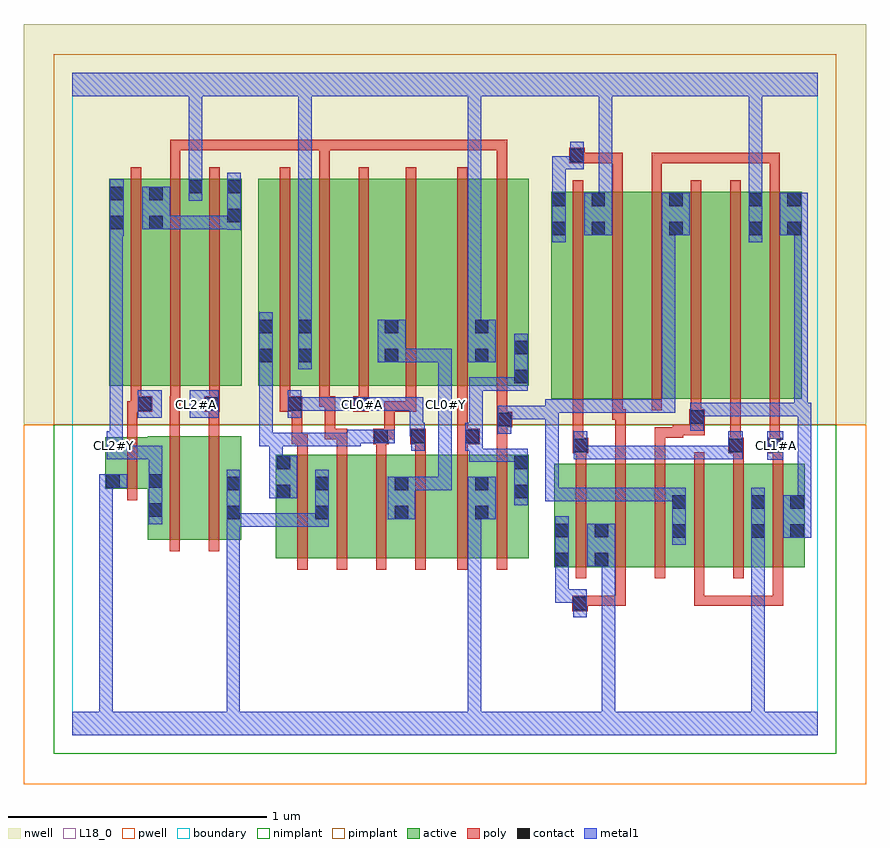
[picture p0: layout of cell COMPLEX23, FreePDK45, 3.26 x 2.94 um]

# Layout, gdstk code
import gdstk
lib = gdstk.Library(unit=1e-6, precision=1e-09)
def R(c, l, rs):  # rectangles x0, y0, x1, y1
    for r in rs: c.add(gdstk.rectangle(r[:2], r[2:], *l))
def A(c, l, x, y, w, h, nx, ny, dx, dy):  # array of equal rectangles
    R(c, l, [(x+i*dx, y+j*dy, x+i*dx+w, y+j*dy+h) for i in range(nx) for j in range(ny)])
active = (1, 0)
pwell = (2, 0)
nwell = (3, 0)
nimplant = (4, 0)
pimplant = (5, 0)
poly = (9, 0)
contact = (10, 0)
metal1 = (11, 0)
L18_0 = (18, 0)
boundary = (235, 0)

complex23 = lib.new_cell('COMPLEX23')
R(complex23, active, [(1.862,0.65,1.922,1.05), (1.862,0.65,2.074,1.05), (2.014,0.65,2.194,1.05), (2.014,0.65,2.074,0.822), (2.194,0.65,2.374,1.05), (2.314,0.65,2.374,1.05), (2.314,0.65,2.498,1.05), (2.498,0.65,2.68,1.05), (2.62,0.65,2.83,1.05), (2.62,0.65,2.68,0.976), (2.77,0.65,2.83,1.05), (0.786,0.684,0.846,1.084), (0.786,0.684,0.994,1.084), (0.934,0.684,0.994,1.084), (0.934,0.684,1.118,1.084), (1.118,0.684,1.302,1.084), (1.242,0.684,1.302,1.084), (1.242,0.684,1.422,1.084), (1.422,0.684,1.612,1.084), (1.552,0.684,1.612,1.084), (1.552,0.684,1.764,1.084), (0.292,0.756,0.472,1.156), (0.292,0.756,0.352,1.152), (0.472,0.756,0.652,1.156), (0.592,0.756,0.652,1.156), (1.704,0.756,1.764,1.084), (0.128,0.952,0.352,1.152), (0.128,0.952,0.188,1.152), (1.85,1.3,1.91,2.1), (1.85,1.3,2.062,2.1), (2.002,1.3,2.182,2.1), (2.182,1.3,2.362,2.1), (2.302,1.3,2.362,2.1), (2.302,1.3,2.486,2.1), (2.486,1.3,2.67,2.1), (2.61,1.3,2.818,2.1), (2.758,1.3,2.818,2.1), (0.142,1.35,0.202,2.15), (0.142,1.35,0.354,2.15), (0.294,1.35,0.354,2.15), (0.294,1.35,0.506,2.15), (0.446,1.35,0.654,2.15), (0.594,1.35,0.654,2.15), (0.718,1.35,0.93,2.15), (0.718,1.35,0.778,2.044), (0.87,1.35,1.05,2.15), (0.87,1.35,0.93,2.044), (1.05,1.35,1.264,2.15), (1.204,1.35,1.264,2.044), (1.204,1.35,1.408,2.15), (1.408,1.35,1.612,2.15), (1.552,1.35,1.764,2.15), (1.552,1.35,1.612,2.044), (1.704,1.35,1.764,2.044), (2.61,1.366,2.67,2.1), (0.446,1.498,0.506,2.15), (2.002,1.65,2.062,2.1)])
R(complex23, pwell, [(-0.188,-0.188,3.068,1.2)])
R(complex23, nwell, [(-0.188,1.2,3.068,2.748)])
R(complex23, nimplant, [(-0.072,-0.072,2.952,1.2)])
R(complex23, pimplant, [(-0.072,1.2,2.952,2.632)])
A(complex23, poly, 2.098, 0.5, 0.04, 0.146, 3, 1, 0.304, 0)
A(complex23, poly, 1.946, 0.606, 0.04, 0.488, 6, 1, 0.152, 0)
A(complex23, poly, 0.87, 0.64, 0.04, 0.488, 4, 1, 0.152, 0)
A(complex23, poly, 1.934, 1.256, 0.04, 0.888, 6, 1, 0.152, 0)
A(complex23, poly, 0.226, 1.27, 0.04, 0.076, 3, 1, 0.152, 0)
A(complex23, poly, 0.802, 1.27, 0.04, 0.076, 3, 1, 0.152, 0)
A(complex23, poly, 0.226, 1.306, 0.04, 0.888, 3, 1, 0.152, 0)
A(complex23, poly, 0.802, 1.306, 0.04, 0.888, 3, 1, 0.152, 0)
R(complex23, poly, [(1.932,0.48,1.992,0.54), (1.952,0.5,1.992,0.54), (1.952,0.5,1.992,0.54), (1.952,0.5,2.138,0.54), (2.098,0.5,2.138,0.54), (2.402,0.5,2.442,0.54), (2.402,0.5,2.548,0.54), (2.508,0.5,2.548,0.54), (2.508,0.5,2.548,0.54), (2.508,0.5,2.548,0.54), (2.508,0.5,2.746,0.54), (2.706,0.5,2.746,0.54), (2.706,0.5,2.746,0.54), (2.706,0.5,2.746,0.54), (1.488,0.64,1.528,1.128), (1.64,0.64,1.68,1.128), (0.376,0.712,0.416,1.2), (0.528,0.712,0.568,1.2), (0.212,0.908,0.252,1.196), (1.946,1.054,1.986,1.13), (2.098,1.054,2.138,1.26), (2.25,1.054,2.29,1.19), (2.554,1.054,2.594,1.13), (2.706,1.054,2.746,1.13), (0.87,1.088,0.91,1.164), (1.022,1.088,1.062,1.184), (1.174,1.088,1.214,1.164), (1.326,1.088,1.366,1.164), (1.488,1.088,1.528,1.164), (1.64,1.088,1.68,1.23), (1.934,1.09,1.994,1.15), (2.534,1.09,2.594,1.15), (2.686,1.09,2.746,1.15), (1.934,1.11,1.974,1.15), (1.934,1.11,1.974,1.15), (1.934,1.11,1.974,1.296), (2.542,1.11,2.582,1.15), (2.542,1.11,2.582,1.15), (2.542,1.11,2.582,1.296), (2.694,1.11,2.734,1.15), (2.694,1.11,2.734,1.15), (2.694,1.11,2.734,1.296), (0.848,1.124,0.888,1.29), (0.848,1.124,0.91,1.164), (1.162,1.124,1.222,1.184), (1.306,1.124,1.366,1.184), (1.488,1.124,1.528,1.164), (1.488,1.124,1.528,1.164), (1.488,1.124,1.574,1.184), (0.976,1.144,1.016,1.31), (0.976,1.144,1.062,1.184), (1.182,1.144,1.246,1.184), (1.206,1.144,1.246,1.29), (1.206,1.144,1.246,1.184), (1.488,1.144,1.528,1.346), (2.25,1.15,2.29,1.19), (2.25,1.15,2.29,1.19), (2.25,1.15,2.29,1.19), (2.25,1.15,2.36,1.19), (2.32,1.15,2.36,1.2), (0.212,1.156,0.252,1.29), (0.376,1.16,0.416,1.31), (0.528,1.16,0.568,1.29), (2.32,1.16,2.424,1.2), (2.384,1.16,2.444,1.26), (1.64,1.19,1.7,1.25), (1.64,1.21,1.68,1.25), (1.64,1.21,1.68,1.25), (1.64,1.21,1.68,1.346), (2.086,1.22,2.126,1.296), (2.086,1.22,2.138,1.26), (2.098,1.22,2.138,1.26), (2.098,1.22,2.138,1.26), (2.39,1.22,2.43,1.296), (0.212,1.25,0.266,1.29), (0.226,1.25,0.266,1.29), (0.226,1.25,0.31,1.31), (0.51,1.25,0.57,1.31), (0.802,1.25,0.888,1.31), (1.086,1.25,1.146,1.31), (1.206,1.25,1.246,1.29), (1.206,1.25,1.328,1.29), (1.288,1.25,1.328,1.29), (1.288,1.25,1.328,1.346), (0.376,1.27,0.416,1.31), (0.376,1.27,0.416,1.31), (0.376,1.27,0.418,1.31), (0.53,1.27,0.57,1.31), (0.53,1.27,0.57,1.31), (0.954,1.27,1.016,1.31), (1.288,1.306,1.328,2.194), (1.488,1.306,1.528,2.194), (1.64,1.306,1.68,2.194), (2.086,2.104,2.126,2.25), (2.238,2.104,2.278,2.25), (2.694,2.104,2.734,2.25), (0.378,2.154,0.418,2.3), (0.954,2.154,0.994,2.3), (1.64,2.154,1.68,2.3), (1.92,2.21,1.98,2.27), (1.94,2.21,1.98,2.25), (1.94,2.21,1.98,2.25), (1.94,2.21,2.126,2.25), (2.086,2.21,2.126,2.25), (2.238,2.21,2.278,2.25), (2.238,2.21,2.396,2.25), (2.356,2.21,2.396,2.25), (2.356,2.21,2.396,2.25), (2.356,2.21,2.396,2.25), (2.356,2.21,2.62,2.25), (2.58,2.21,2.62,2.25), (2.58,2.21,2.62,2.25), (2.58,2.21,2.62,2.25), (2.58,2.21,2.734,2.25), (2.694,2.21,2.734,2.25), (2.694,2.21,2.734,2.25), (2.694,2.21,2.734,2.25), (0.378,2.26,0.418,2.3), (0.378,2.26,0.418,2.3), (0.378,2.26,0.418,2.3), (0.378,2.26,0.524,2.3), (0.484,2.26,0.524,2.3), (0.484,2.26,0.524,2.3), (0.484,2.26,0.524,2.3), (0.484,2.26,0.63,2.3), (0.59,2.26,0.63,2.3), (0.59,2.26,0.63,2.3), (0.59,2.26,0.63,2.3), (0.59,2.26,0.994,2.3), (0.954,2.26,0.994,2.3), (0.954,2.26,0.994,2.3), (0.954,2.26,0.994,2.3), (0.954,2.26,1.1,2.3), (1.06,2.26,1.1,2.3), (1.06,2.26,1.1,2.3), (1.06,2.26,1.1,2.3), (1.06,2.26,1.328,2.3), (1.288,2.26,1.328,2.3), (1.288,2.26,1.328,2.3), (1.288,2.26,1.328,2.3), (1.288,2.26,1.434,2.3), (1.394,2.26,1.434,2.3), (1.394,2.26,1.434,2.3), (1.394,2.26,1.434,2.3), (1.394,2.26,1.68,2.3), (1.64,2.26,1.68,2.3), (1.64,2.26,1.68,2.3), (1.64,2.26,1.68,2.3)])
R(complex23, contact, [(1.936,0.484,1.988,0.536), (1.866,0.654,1.918,0.706), (2.018,0.654,2.07,0.706), (2.318,0.764,2.37,0.816), (2.624,0.764,2.676,0.816), (2.774,0.764,2.826,0.816), (1.866,0.766,1.918,0.818), (2.018,0.766,2.07,0.818), (0.596,0.834,0.648,0.886), (0.938,0.834,0.99,0.886), (1.246,0.834,1.298,0.886), (1.556,0.834,1.608,0.886), (0.296,0.844,0.348,0.896), (2.318,0.876,2.37,0.928), (2.624,0.876,2.676,0.928), (2.774,0.876,2.826,0.928), (0.79,0.916,0.842,0.968), (1.708,0.916,1.76,0.968), (0.596,0.946,0.648,0.998), (0.938,0.946,0.99,0.998), (1.246,0.946,1.298,0.998), (1.556,0.946,1.608,0.998), (0.132,0.956,0.184,1.008), (0.296,0.956,0.348,1.008), (0.79,1.028,0.842,1.08), (1.708,1.028,1.76,1.08), (1.938,1.094,1.99,1.146), (2.538,1.094,2.59,1.146), (2.69,1.094,2.742,1.146), (1.166,1.128,1.218,1.18), (1.31,1.128,1.362,1.18), (1.518,1.128,1.57,1.18), (1.644,1.194,1.696,1.246), (2.388,1.204,2.44,1.256), (0.254,1.254,0.306,1.306), (0.514,1.254,0.566,1.306), (0.832,1.254,0.884,1.306), (1.09,1.254,1.142,1.306), (1.708,1.36,1.76,1.412), (0.722,1.442,0.774,1.494), (0.874,1.442,0.926,1.494), (1.208,1.442,1.26,1.494), (1.556,1.442,1.608,1.494), (1.708,1.472,1.76,1.524), (0.722,1.554,0.774,1.606), (0.874,1.554,0.926,1.606), (1.208,1.554,1.26,1.606), (1.556,1.554,1.608,1.606), (1.854,1.932,1.906,1.984), (2.006,1.932,2.058,1.984), (2.306,1.932,2.358,1.984), (2.614,1.932,2.666,1.984), (2.762,1.932,2.814,1.984), (0.146,1.956,0.198,2.008), (0.298,1.956,0.35,2.008), (0.598,1.982,0.65,2.034), (1.854,2.044,1.906,2.096), (2.006,2.044,2.058,2.096), (2.306,2.044,2.358,2.096), (2.614,2.044,2.666,2.096), (2.762,2.044,2.814,2.096), (0.146,2.068,0.198,2.12), (0.298,2.068,0.35,2.12), (0.45,2.094,0.502,2.146), (0.598,2.094,0.65,2.146), (1.924,2.214,1.976,2.266)])
A(complex23, metal1, 2.168, 1.066, 0.052, 0.052, 3, 1, 0.11, 0)
R(complex23, metal1, [(0,0,2.88,0.092), (0.104,0.04,0.156,0.092), (0.104,0.04,0.156,0.092), (0.104,0.04,0.156,1.008), (0.596,0.04,0.648,0.092), (0.596,0.04,0.648,0.092), (0.596,0.04,0.648,0.092), (0.596,0.04,0.648,0.092), (0.596,0.04,0.648,0.092), (0.596,0.04,0.648,0.092), (0.596,0.04,0.648,0.092), (0.596,0.04,0.648,0.092), (0.596,0.04,0.648,0.092), (0.596,0.04,0.648,0.092), (0.596,0.04,0.648,0.092), (0.596,0.04,0.648,0.092), (0.596,0.04,0.648,0.858), (1.528,0.04,1.58,0.092), (1.528,0.04,1.58,0.092), (1.528,0.04,1.58,0.092), (1.528,0.04,1.58,0.092), (1.528,0.04,1.58,0.092), (1.528,0.04,1.58,0.092), (1.528,0.04,1.58,0.092), (1.528,0.04,1.58,0.092), (1.528,0.04,1.58,0.092), (1.528,0.04,1.58,0.092), (1.528,0.04,1.58,0.092), (1.528,0.04,1.58,0.092), (1.528,0.04,1.58,0.886), (2.046,0.04,2.098,0.092), (2.046,0.04,2.098,0.092), (2.046,0.04,2.098,0.706), (2.624,0.04,2.676,0.092), (2.624,0.04,2.676,0.092), (2.624,0.04,2.676,0.092), (2.624,0.04,2.676,0.092), (2.624,0.04,2.676,0.092), (2.624,0.04,2.676,0.092), (2.624,0.04,2.676,0.092), (2.624,0.04,2.676,0.092), (2.624,0.04,2.676,0.788), (1.936,0.456,1.988,0.564), (1.866,0.512,1.918,0.564), (1.866,0.512,1.988,0.564), (1.866,0.512,1.918,0.678), (1.866,0.626,1.918,0.846), (1.99,0.654,2.098,0.818), (2.046,0.654,2.098,0.706), (2.046,0.654,2.098,0.706), (2.046,0.654,2.098,0.706), (2.046,0.654,2.098,0.706), (2.046,0.654,2.098,0.706), (2.046,0.654,2.098,0.706), (2.046,0.654,2.098,0.706), (2.046,0.654,2.098,0.706), (2.046,0.654,2.098,0.706), (2.046,0.654,2.098,0.706), (2.318,0.736,2.37,0.956), (2.624,0.736,2.676,0.788), (2.624,0.736,2.676,0.788), (2.624,0.736,2.676,0.788), (2.624,0.736,2.676,0.788), (2.624,0.736,2.676,0.956), (2.746,0.764,2.854,0.928), (0.596,0.806,0.648,0.858), (0.596,0.806,0.648,0.858), (0.596,0.806,0.648,1.026), (0.596,0.806,0.76,0.858), (0.708,0.806,0.76,0.858), (0.708,0.806,0.99,0.858), (0.938,0.806,0.99,1.026), (0.296,0.816,0.348,1.036), (1.218,0.834,1.326,0.998), (1.528,0.834,1.636,0.998), (2.802,0.876,2.854,1.284), (1.708,0.888,1.76,1.108), (1.828,0.904,1.88,0.956), (1.828,0.904,1.88,0.956), (1.828,0.904,1.88,0.956), (1.828,0.904,2.1,0.956), (1.828,0.904,1.88,1.274), (2.048,0.904,2.1,0.956), (2.048,0.904,2.1,0.956), (2.048,0.904,2.1,0.956), (2.048,0.904,2.21,0.956), (2.158,0.904,2.21,0.956), (2.158,0.904,2.21,0.956), (2.158,0.904,2.21,0.956), (2.158,0.904,2.37,0.956), (0.762,0.916,0.87,1.08), (1.274,0.946,1.356,0.998), (1.304,0.946,1.356,0.998), (1.304,0.946,1.466,0.998), (1.414,0.946,1.466,0.998), (1.414,0.946,1.466,1.278), (0.104,0.956,0.156,1.008), (0.104,0.956,0.156,1.008), (0.104,0.956,0.156,1.008), (0.104,0.956,0.156,1.008), (0.104,0.956,0.156,1.008), (0.104,0.956,0.156,1.008), (0.104,0.956,0.156,1.008), (0.104,0.956,0.156,1.008), (0.104,0.956,0.156,1.008), (0.104,0.956,0.156,1.008), (0.104,0.956,0.156,1.008), (0.104,0.956,0.156,1.008), (0.104,0.956,0.156,1.008), (0.104,0.956,0.156,1.008), (0.104,0.956,0.212,1.008), (0.296,0.984,0.348,1.118), (0.762,1.028,0.814,1.168), (1.534,1.056,1.586,1.108), (1.534,1.056,1.76,1.108), (1.534,1.056,1.586,1.152), (1.708,1.056,1.76,1.108), (1.708,1.056,1.76,1.108), (2.684,1.064,2.746,1.174), (0.134,1.066,0.196,1.174), (0.144,1.066,0.196,1.118), (0.144,1.066,0.196,1.118), (0.144,1.066,0.348,1.118), (0.296,1.066,0.348,1.118), (1.938,1.066,1.99,1.174), (1.938,1.066,2.1,1.118), (2.048,1.066,2.1,1.118), (2.048,1.066,2.1,1.118), (2.048,1.066,2.1,1.118), (2.048,1.066,2.22,1.118), (2.168,1.066,2.22,1.118), (2.168,1.066,2.22,1.118), (2.168,1.066,2.33,1.118), (2.278,1.066,2.44,1.118), (2.388,1.066,2.44,1.118), (2.388,1.066,2.44,1.118), (2.388,1.066,2.586,1.118), (2.534,1.066,2.59,1.174), (1.31,1.1,1.362,1.208), (1.518,1.1,1.57,1.208), (1.518,1.1,1.586,1.152), (1.534,1.1,1.586,1.152), (1.534,1.1,1.586,1.152), (1.534,1.1,1.586,1.152), (1.534,1.1,1.586,1.384), (0.722,1.116,0.774,1.466), (0.722,1.116,0.814,1.168), (0.762,1.116,0.814,1.168), (0.762,1.116,0.814,1.168), (0.762,1.116,1.004,1.168), (0.952,1.116,1.004,1.168), (0.952,1.116,1.004,1.168), (0.952,1.116,1.004,1.168), (0.952,1.116,1.114,1.168), (1.062,1.116,1.114,1.18), (0.144,1.122,0.196,1.98), (1.062,1.128,1.19,1.18), (1.138,1.128,1.246,1.18), (1.304,1.156,1.356,1.208), (1.304,1.156,1.362,1.208), (1.304,1.156,1.356,1.306), (1.644,1.166,1.696,1.274), (2.388,1.176,2.44,1.284), (1.644,1.222,1.696,1.274), (1.644,1.222,1.696,1.274), (1.644,1.222,1.88,1.274), (1.828,1.222,1.88,1.274), (1.828,1.222,1.88,1.298), (0.254,1.226,0.346,1.334), (0.454,1.226,0.566,1.334), (0.832,1.226,0.884,1.334), (1.414,1.226,1.466,1.334), (2.388,1.232,2.44,1.284), (2.388,1.232,2.44,1.284), (2.388,1.232,2.626,1.284), (2.574,1.232,2.626,1.284), (2.574,1.232,2.626,1.284), (2.574,1.232,2.626,1.284), (2.574,1.232,2.842,1.284), (2.79,1.232,2.842,1.984), (2.79,1.232,2.842,1.284), (2.79,1.232,2.842,1.284), (2.79,1.232,2.854,1.284), (2.802,1.232,2.854,1.284), (2.802,1.232,2.854,1.284), (1.828,1.246,1.88,1.298), (1.828,1.246,1.88,1.298), (1.828,1.246,1.88,1.298), (1.828,1.246,2.1,1.298), (2.048,1.246,2.1,1.298), (2.048,1.246,2.1,1.298), (2.048,1.246,2.1,1.298), (2.048,1.246,2.21,1.298), (2.158,1.246,2.21,1.298), (2.158,1.246,2.33,1.298), (2.278,1.246,2.33,1.298), (2.278,1.246,2.33,1.298), (2.278,1.246,2.33,1.298), (2.278,1.246,2.33,1.984), (0.832,1.254,1.004,1.306), (0.952,1.254,1.004,1.306), (0.952,1.254,1.004,1.306), (0.952,1.254,1.004,1.306), (0.952,1.254,1.114,1.306), (1.062,1.254,1.114,1.306), (1.062,1.254,1.114,1.306), (1.062,1.254,1.174,1.306), (1.122,1.254,1.356,1.306), (1.304,1.254,1.356,1.306), (1.414,1.282,1.466,1.334), (1.414,1.282,1.466,1.334), (1.414,1.282,1.466,1.494), (1.534,1.332,1.586,1.384), (1.534,1.332,1.76,1.384), (1.708,1.332,1.76,1.384), (1.708,1.332,1.76,1.384), (1.708,1.332,1.76,1.552), (0.722,1.414,0.774,1.466), (0.722,1.414,0.774,1.466), (0.722,1.414,0.774,1.634), (0.874,1.414,0.926,1.634), (1.18,1.442,1.288,1.606), (1.236,1.442,1.356,1.494), (1.304,1.442,1.356,1.494), (1.304,1.442,1.466,1.494), (1.414,1.442,1.466,1.494), (1.528,1.442,1.636,1.606), (1.528,1.554,1.58,1.606), (1.528,1.554,1.58,1.606), (1.528,1.554,1.58,1.606), (1.528,1.554,1.58,1.606), (1.528,1.554,1.58,1.606), (1.528,1.554,1.58,1.606), (1.528,1.554,1.58,2.52), (0.874,1.582,0.926,1.634), (0.874,1.582,0.926,1.634), (0.874,1.582,0.926,1.634), (0.874,1.582,0.926,1.634), (0.874,1.582,0.926,1.634), (0.874,1.582,0.926,1.634), (0.874,1.582,0.926,1.634), (0.874,1.582,0.926,1.634), (0.874,1.582,0.926,2.52), (1.854,1.904,1.906,2.124), (2.614,1.904,2.666,2.124), (0.144,1.928,0.196,1.98), (0.144,1.928,0.196,1.98), (0.144,1.928,0.198,2.148), (1.978,1.932,2.086,2.096), (2.278,1.932,2.386,2.096), (2.734,1.932,2.842,2.096), (0.598,1.954,0.65,2.174), (0.27,1.956,0.378,2.12), (0.326,1.956,0.378,2.008), (0.326,1.956,0.378,2.008), (0.326,1.956,0.538,2.008), (0.486,1.956,0.538,2.008), (0.486,1.956,0.538,2.008), (0.486,1.956,0.538,2.008), (0.486,1.956,0.65,2.008), (2.034,2.044,2.086,2.096), (2.034,2.044,2.086,2.096), (2.034,2.044,2.086,2.096), (2.034,2.044,2.086,2.096), (2.034,2.044,2.086,2.096), (2.034,2.044,2.086,2.096), (2.034,2.044,2.086,2.096), (2.034,2.044,2.086,2.096), (2.034,2.044,2.086,2.52), (0.45,2.066,0.502,2.174), (1.854,2.072,1.906,2.238), (2.614,2.072,2.666,2.124), (2.614,2.072,2.666,2.124), (2.614,2.072,2.666,2.124), (2.614,2.072,2.666,2.124), (2.614,2.072,2.666,2.124), (2.614,2.072,2.666,2.124), (2.614,2.072,2.666,2.124), (2.614,2.072,2.666,2.124), (2.614,2.072,2.666,2.52), (0.45,2.122,0.502,2.52), (1.854,2.186,1.906,2.238), (1.854,2.186,1.976,2.238), (1.924,2.186,1.976,2.294), (0,2.468,2.88,2.56), (0.45,2.468,0.502,2.52), (0.45,2.468,0.502,2.52), (0.45,2.468,0.502,2.52), (0.45,2.468,0.502,2.52), (0.45,2.468,0.502,2.52), (0.45,2.468,0.502,2.52), (0.45,2.468,0.502,2.52), (0.45,2.468,0.502,2.52), (1.528,2.468,1.58,2.52), (1.528,2.468,1.58,2.52)])
A(complex23, L18_0, 2.168, 1.066, 0.052, 0.052, 3, 1, 0.11, 0)
R(complex23, L18_0, [(0,0,2.88,0.092), (0.104,0.04,0.156,0.092), (0.104,0.04,0.156,0.092), (0.104,0.04,0.156,1.008), (0.596,0.04,0.648,0.092), (0.596,0.04,0.648,0.092), (0.596,0.04,0.648,0.092), (0.596,0.04,0.648,0.092), (0.596,0.04,0.648,0.092), (0.596,0.04,0.648,0.092), (0.596,0.04,0.648,0.092), (0.596,0.04,0.648,0.092), (0.596,0.04,0.648,0.092), (0.596,0.04,0.648,0.092), (0.596,0.04,0.648,0.092), (0.596,0.04,0.648,0.092), (0.596,0.04,0.648,0.858), (1.528,0.04,1.58,0.092), (1.528,0.04,1.58,0.092), (1.528,0.04,1.58,0.092), (1.528,0.04,1.58,0.092), (1.528,0.04,1.58,0.092), (1.528,0.04,1.58,0.092), (1.528,0.04,1.58,0.092), (1.528,0.04,1.58,0.092), (1.528,0.04,1.58,0.092), (1.528,0.04,1.58,0.092), (1.528,0.04,1.58,0.092), (1.528,0.04,1.58,0.092), (1.528,0.04,1.58,0.886), (2.046,0.04,2.098,0.092), (2.046,0.04,2.098,0.092), (2.046,0.04,2.098,0.706), (2.624,0.04,2.676,0.092), (2.624,0.04,2.676,0.092), (2.624,0.04,2.676,0.092), (2.624,0.04,2.676,0.092), (2.624,0.04,2.676,0.092), (2.624,0.04,2.676,0.092), (2.624,0.04,2.676,0.092), (2.624,0.04,2.676,0.092), (2.624,0.04,2.676,0.788), (1.99,0.654,2.098,0.818), (2.046,0.654,2.098,0.706), (2.046,0.654,2.098,0.706), (2.046,0.654,2.098,0.706), (2.046,0.654,2.098,0.706), (2.046,0.654,2.098,0.706), (2.046,0.654,2.098,0.706), (2.046,0.654,2.098,0.706), (2.046,0.654,2.098,0.706), (2.046,0.654,2.098,0.706), (2.046,0.654,2.098,0.706), (2.624,0.736,2.676,0.788), (2.624,0.736,2.676,0.788), (2.624,0.736,2.676,0.788), (2.624,0.736,2.676,0.788), (2.624,0.736,2.676,0.956), (0.596,0.806,0.648,0.858), (0.596,0.806,0.648,0.858), (0.596,0.806,0.648,1.026), (0.596,0.806,0.76,0.858), (0.708,0.806,0.76,0.858), (0.708,0.806,0.99,0.858), (0.938,0.806,0.99,1.026), (0.296,0.816,0.348,1.036), (1.218,0.834,1.326,0.998), (1.528,0.834,1.636,0.998), (1.274,0.946,1.356,0.998), (1.304,0.946,1.356,0.998), (1.304,0.946,1.466,0.998), (1.414,0.946,1.466,0.998), (1.414,0.946,1.466,1.278), (0.104,0.956,0.156,1.008), (0.104,0.956,0.156,1.008), (0.104,0.956,0.156,1.008), (0.104,0.956,0.156,1.008), (0.104,0.956,0.156,1.008), (0.104,0.956,0.156,1.008), (0.104,0.956,0.156,1.008), (0.104,0.956,0.156,1.008), (0.104,0.956,0.156,1.008), (0.104,0.956,0.156,1.008), (0.104,0.956,0.156,1.008), (0.104,0.956,0.156,1.008), (0.104,0.956,0.156,1.008), (0.104,0.956,0.156,1.008), (0.104,0.956,0.212,1.008), (0.296,0.984,0.348,1.118), (2.684,1.064,2.746,1.174), (0.134,1.066,0.196,1.174), (0.144,1.066,0.196,1.118), (0.144,1.066,0.196,1.118), (0.144,1.066,0.348,1.118), (0.296,1.066,0.348,1.118), (1.938,1.066,1.99,1.174), (1.938,1.066,2.1,1.118), (2.048,1.066,2.1,1.118), (2.048,1.066,2.1,1.118), (2.048,1.066,2.1,1.118), (2.048,1.066,2.22,1.118), (2.168,1.066,2.22,1.118), (2.168,1.066,2.22,1.118), (2.168,1.066,2.33,1.118), (2.278,1.066,2.44,1.118), (2.388,1.066,2.44,1.118), (2.388,1.066,2.44,1.118), (2.388,1.066,2.586,1.118), (2.534,1.066,2.59,1.174), (0.134,1.094,0.186,1.146), (2.534,1.094,2.586,1.146), (2.694,1.094,2.746,1.146), (1.31,1.1,1.362,1.208), (0.144,1.122,0.196,1.98), (1.304,1.156,1.356,1.208), (1.304,1.156,1.356,1.306), (1.304,1.156,1.362,1.208), (0.254,1.226,0.346,1.334), (0.454,1.226,0.566,1.334), (0.832,1.226,0.884,1.334), (1.414,1.226,1.466,1.334), (0.294,1.254,0.346,1.306), (0.454,1.254,0.506,1.306), (0.832,1.254,1.004,1.306), (0.952,1.254,1.004,1.306), (0.952,1.254,1.004,1.306), (0.952,1.254,1.004,1.306), (0.952,1.254,1.114,1.306), (1.062,1.254,1.114,1.306), (1.062,1.254,1.114,1.306), (1.062,1.254,1.174,1.306), (1.094,1.254,1.146,1.306), (1.122,1.254,1.356,1.306), (1.304,1.254,1.356,1.306), (1.414,1.254,1.466,1.306), (1.414,1.282,1.466,1.334), (1.414,1.282,1.466,1.334), (1.414,1.282,1.466,1.494), (0.874,1.414,0.926,1.634), (1.18,1.442,1.288,1.606), (1.236,1.442,1.356,1.494), (1.304,1.442,1.356,1.494), (1.304,1.442,1.466,1.494), (1.414,1.442,1.466,1.494), (1.528,1.442,1.636,1.606), (1.528,1.554,1.58,1.606), (1.528,1.554,1.58,1.606), (1.528,1.554,1.58,1.606), (1.528,1.554,1.58,1.606), (1.528,1.554,1.58,1.606), (1.528,1.554,1.58,1.606), (1.528,1.554,1.58,2.52), (0.874,1.582,0.926,1.634), (0.874,1.582,0.926,1.634), (0.874,1.582,0.926,1.634), (0.874,1.582,0.926,1.634), (0.874,1.582,0.926,1.634), (0.874,1.582,0.926,1.634), (0.874,1.582,0.926,1.634), (0.874,1.582,0.926,1.634), (0.874,1.582,0.926,2.52), (2.614,1.904,2.666,2.124), (0.144,1.928,0.196,1.98), (0.144,1.928,0.196,1.98), (0.144,1.928,0.198,2.148), (1.978,1.932,2.086,2.096), (2.034,2.044,2.086,2.096), (2.034,2.044,2.086,2.096), (2.034,2.044,2.086,2.096), (2.034,2.044,2.086,2.096), (2.034,2.044,2.086,2.096), (2.034,2.044,2.086,2.096), (2.034,2.044,2.086,2.096), (2.034,2.044,2.086,2.096), (2.034,2.044,2.086,2.52), (0.45,2.066,0.502,2.174), (2.614,2.072,2.666,2.124), (2.614,2.072,2.666,2.124), (2.614,2.072,2.666,2.124), (2.614,2.072,2.666,2.124), (2.614,2.072,2.666,2.124), (2.614,2.072,2.666,2.124), (2.614,2.072,2.666,2.124), (2.614,2.072,2.666,2.124), (2.614,2.072,2.666,2.52), (0.45,2.122,0.502,2.52), (0,2.468,2.88,2.56), (0.45,2.468,0.502,2.52), (0.45,2.468,0.502,2.52), (0.45,2.468,0.502,2.52), (0.45,2.468,0.502,2.52), (0.45,2.468,0.502,2.52), (0.45,2.468,0.502,2.52), (0.45,2.468,0.502,2.52), (0.45,2.468,0.502,2.52), (1.528,2.468,1.58,2.52), (1.528,2.468,1.58,2.52)])
R(complex23, boundary, [(0,0,2.88,2.56)])
complex23.add(gdstk.Label('CL0#A', (1.12,1.28), layer=11, texttype=0))
complex23.add(gdstk.Label('CL0#Y', (1.44,1.28), layer=11, texttype=0))
complex23.add(gdstk.Label('CL1#A', (2.72,1.12), layer=11, texttype=0))
complex23.add(gdstk.Label('CL1#B', (2.56,1.12), layer=11, texttype=0))
complex23.add(gdstk.Label('CL2#A', (0.48,1.28), layer=11, texttype=0))
complex23.add(gdstk.Label('CL2#C', (0.32,1.28), layer=11, texttype=0))
complex23.add(gdstk.Label('CL2#Y', (0.16,1.12), layer=11, texttype=0))

lib.write_gds('COMPLEX23.gds')
